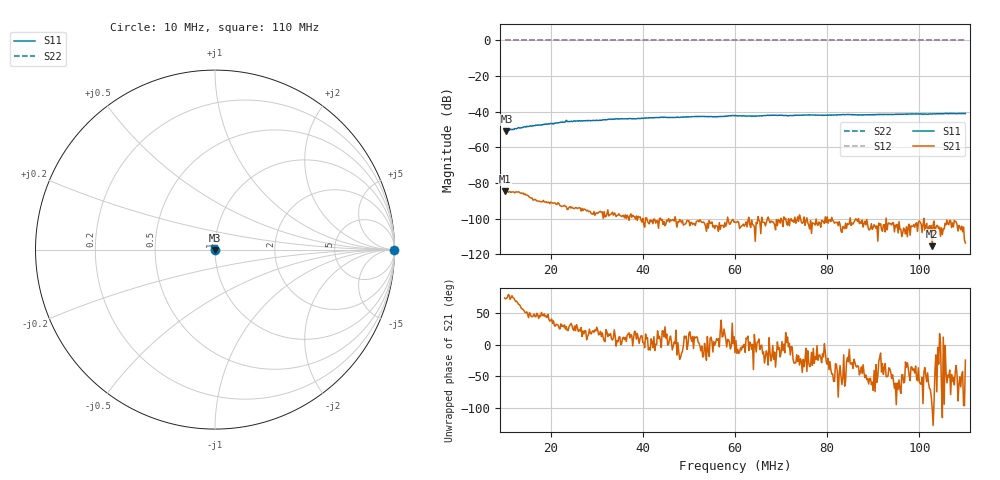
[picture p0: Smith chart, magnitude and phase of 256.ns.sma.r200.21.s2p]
! Anritsu VNA Master:  Model: MS2036C/10/77
! SN:  1601066
! /card0/usr/256.ns.sma.r200.21.s2p
! Existing Calibration Information:
! TYPE:  Current Settings,  Active Cal Settings
! TIME:  12/19/2017 03:50:54 PM,  12/19/2017 03:30:41 PM
! INTERNAL TEMP:  47.3 C,  48.0 C
! # POINTS:  501,  501
! START FREQ:  10.000 MHz,  10.000 MHz
! STOP FREQ:  110.000 MHz,  110.000 MHz
! SOURCE POWER:  High,  High
! IFBW:  100 Hz,  100 Hz
! AVG FACTOR:  1 ,  1
! REF PLANE 1:  0 mm,  0 mm
! REF PLANE 2:  0 mm,  0 mm
! CAL TYPE:  Full S11,  Full S11
! CAL METHOD:  SOLT,  SOLT
! CAL LINE TYPE:  Coax,  Coax
! DUT PORT 1:  N-Conn(F),  N-Conn(F)
! DUT PORT 2:  K-Conn(F),  K-Conn(F)
! CAL STATUS:  OK: Accuracy High,  --
# GHZ S DB R 50.0
! FREQ.GHZ  S11DB  S11A  S21DB  S21A  S12DB  S12A  S22DB  S22A
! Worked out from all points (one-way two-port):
!   501 points, 10 MHz to 110 MHz, reference 50 ohm
!   highest |S21| = -84.73 dB at 10 MHz (marker M1); lowest = -115.5 dB at 102.8 MHz (marker M2)
!   lowest |S11| = -51.1 dB at 10.4 MHz (marker M3), VSWR 1.01, Z = 49.9 - j0.27 ohm
!   |S11| at or under -10 dB: start of sweep to end of sweep
!   |S22| runs from 0.0 to 0.0 dB; largest |S21 - S12| = 1
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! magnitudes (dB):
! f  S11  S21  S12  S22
! 10 MHz  -50.7  -84.7  0.0  0.0
! 10.4 MHz  -51.1  -85.0  0.0  0.0
! 14.6 MHz  -48.6  -86.7  0.0  0.0
! 17.2 MHz  -47.5  -90.2  0.0  0.0
! 20.6 MHz  -46.9  -91.5  0.0  0.0
! 23.6 MHz  -45.6  -95.0  0.0  0.0
! 26.8 MHz  -45.2  -94.3  0.0  0.0
! 30.6 MHz  -44.8  -96.2  0.0  0.0
! 34.6 MHz  -44.1  -98.2  0.0  0.0
! 38 MHz  -43.9  -98.7  0.0  0.0
! 43.4 MHz  -43.3  -105.5  0.0  0.0
! 48 MHz  -43.2  -100.6  0.0  0.0
! 51.8 MHz  -42.7  -101.4  0.0  0.0
! 56 MHz  -42.8  -104.2  0.0  0.0
! 60 MHz  -42.2  -101.9  0.0  0.0
! 64 MHz  -42.5  -103.7  0.0  0.0
! 67.4 MHz  -42.1  -101.0  0.0  0.0
! 71.8 MHz  -42.1  -104.1  0.0  0.0
! 76.8 MHz  -41.9  -102.4  0.0  0.0
! 93.4 MHz  -41.5  -102.4  0.0  0.0
! 102.8 MHz  -41.3  -115.5  0.0  0.0
! 110 MHz  -41.0  -113.8  0.0  0.0
